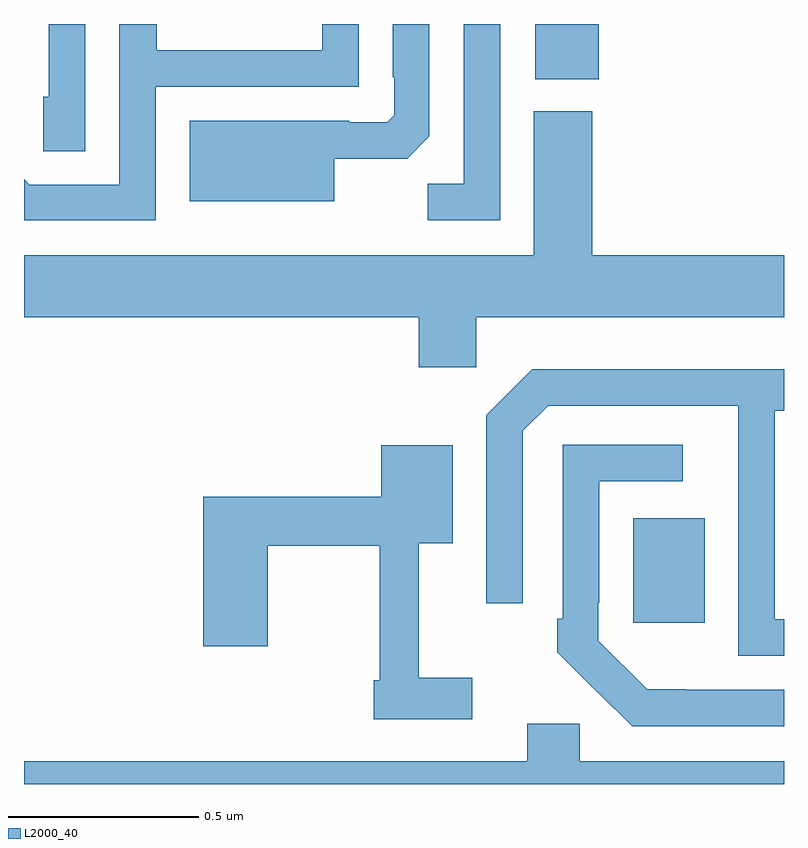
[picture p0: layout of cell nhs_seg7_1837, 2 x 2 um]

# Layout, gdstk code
import gdstk
lib = gdstk.Library(unit=1e-6, precision=1e-09)
def R(c, l, rs):  # rectangles x0, y0, x1, y1
    for r in rs: c.add(gdstk.rectangle(r[:2], r[2:], *l))
def P(c, l, *ps):  # polygons
    for p in ps: c.add(gdstk.Polygon(p, *l))
L2000_40 = (2000, 40)

nhs_seg7_1837 = lib.new_cell('nhs_seg7_1837')
R(nhs_seg7_1837, L2000_40, [(137.603,1054.425,137.791,1054.699), (137.345,1055.855,137.512,1056)])
P(nhs_seg7_1837, L2000_40, [(136.816,1055.645),(137.008,1055.645),(137.067,1055.704),(137.067,1056),(136.971,1056),(136.971,1055.86),(136.974,1055.86),(136.974,1055.76),(136.956,1055.742),(136.856,1055.742),(136.856,1055.746),(136.436,1055.746),(136.436,1055.534),(136.816,1055.534)],
  [(137.253,1056),(137.157,1056),(137.157,1055.579),(137.062,1055.579),(137.062,1055.484),(137.253,1055.484)],
  [(136.347,1055.835),(136.881,1055.835),(136.881,1056),(136.785,1056),(136.785,1055.931),(136.349,1055.931),(136.349,1056),(136.251,1056),(136.251,1055.577),(136.014,1055.577),(136,1055.591),(136,1055.484),(136.347,1055.484)],
  [(136.161,1056),(136.065,1056),(136.065,1055.808),(136.05,1055.808),(136.05,1055.665),(136.161,1055.665)],
  [(137.19,1055.228),(138,1055.228),(138,1055.392),(137.495,1055.392),(137.495,1055.77),(137.342,1055.77),(137.342,1055.392),(136,1055.392),(136,1055.228),(137.039,1055.228),(137.039,1055.097),(137.19,1055.097)],
  [(138,1054.434),(137.976,1054.434),(137.976,1054.982),(138,1054.982),(138,1055.092),(137.338,1055.092),(137.217,1054.971),(137.217,1054.476),(137.313,1054.476),(137.313,1054.929),(137.379,1054.995),(137.879,1054.995),(137.879,1054.795),(137.88,1054.795),(137.88,1054.338),(138,1054.338)],
  [(138,1054.248),(137.743,1054.248),(137.743,1054.249),(137.64,1054.249),(137.511,1054.377),(137.511,1054.477),(137.514,1054.477),(137.514,1054.797),(137.734,1054.797),(137.734,1054.893),(137.418,1054.893),(137.418,1054.435),(137.403,1054.435),(137.403,1054.347),(137.508,1054.242),(137.509,1054.243),(137.6,1054.152),(138,1054.152)],
  [(137.179,1054.279),(137.039,1054.279),(137.039,1054.634),(137.128,1054.634),(137.128,1054.891),(136.94,1054.891),(136.94,1054.756),(136.472,1054.756),(136.472,1054.362),(136.642,1054.362),(136.642,1054.627),(136.936,1054.627),(136.936,1054.273),(136.921,1054.273),(136.921,1054.17),(137.179,1054.17)],
  [(138,1054.06),(137.463,1054.06),(137.463,1054.158),(137.324,1054.158),(137.324,1054.06),(136,1054.06),(136,1054),(138,1054)])

lib.write_gds('nhs_seg7_1837.gds')
